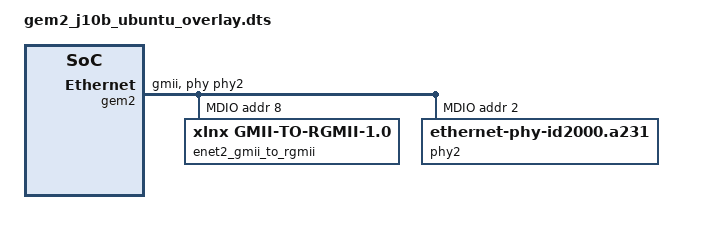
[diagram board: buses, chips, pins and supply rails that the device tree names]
/dts-v1/;
/plugin/;

/*
 * Build-time-only overlay used to materialize the final KR260 revB Ubuntu DTB.
 * It is applied offline with fdtoverlay; runtime overlay loading is not used.
 */

&gem2 {
	status = "okay";
	phy-mode = "gmii";
	phy-handle = <&phy2>;

	mdio {
		#address-cells = <1>;
		#size-cells = <0>;

		enet2_gmii_to_rgmii: ethernet-phy@8 {
			compatible = "xlnx,gmii-to-rgmii-1.0";
			reg = <8>;
			phy-handle = <&phy2>;
		};

		phy2: ethernet-phy@2 {
			compatible = "ethernet-phy-id2000.a231";
			reg = <2>;
			ti,dp83867-rxctrl-strap-quirk;
			ti,fifo-depth = <1>;
			ti,tx-internal-delay = <4>;
			ti,rx-internal-delay = <4>;
		};
	};
};

/* Keep Linux eth numbering stable when GEM2 becomes probeable. */
&{/aliases} {
	ethernet0 = "/axi/ethernet@ff0b0000";
	ethernet1 = "/axi/ethernet@ff0c0000";
	ethernet2 = "/axi/ethernet@ff0d0000";
};
